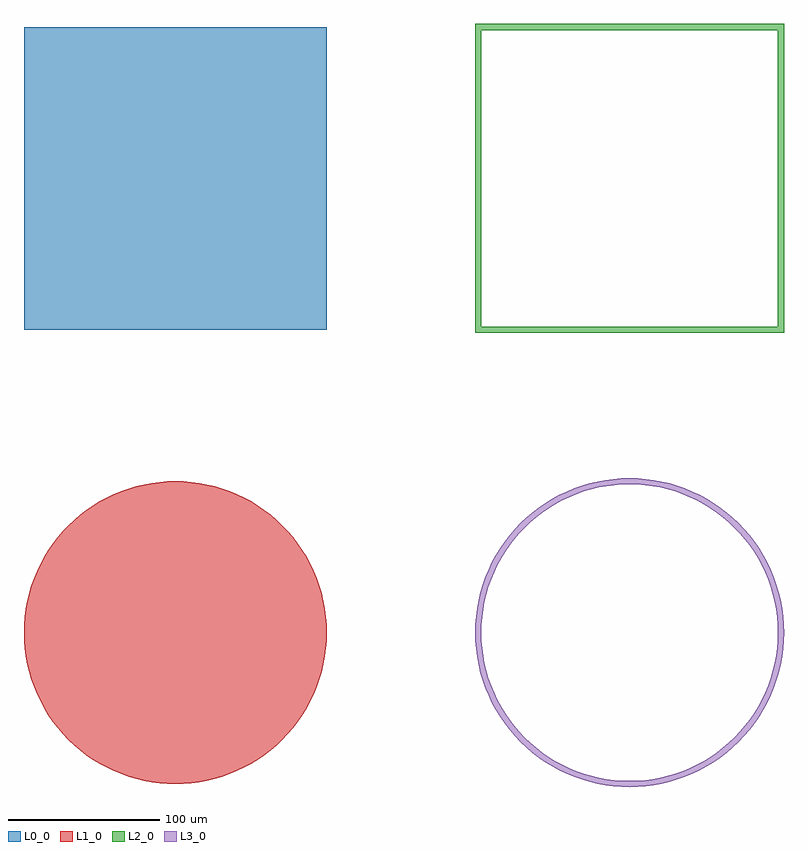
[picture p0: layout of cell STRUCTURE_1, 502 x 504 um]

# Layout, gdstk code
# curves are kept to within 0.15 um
import gdstk
lib = gdstk.Library(unit=1e-6, precision=5e-09)
def R(c, l, rs):  # rectangles x0, y0, x1, y1
    for r in rs: c.add(gdstk.rectangle(r[:2], r[2:], *l))
def P(c, l, *ps):  # polygons
    for p in ps: c.add(gdstk.Polygon(p, *l))
L0_0 = (0, 0)
L1_0 = (1, 0)
L2_0 = (2, 0)
L3_0 = (3, 0)

boundaries = lib.new_cell('boundaries')
R(boundaries, L0_0, [(-100,50,100,250)])
P(boundaries, L1_0, [(100,-150),(99.865,-144.765),(98.77,-134.355),(96.595,-124.12),(93.36,-114.165),(89.1,-104.6),(83.865,-95.535),(77.715,-87.07),(70.71,-79.29),(62.93,-72.285),(54.465,-66.135),(45.4,-60.9),(35.835,-56.64),(25.88,-53.405),(15.645,-51.23),(5.235,-50.135),(0,-50),(-5.235,-50.135),(-15.645,-51.23),(-25.88,-53.405),(-35.835,-56.64),(-45.4,-60.9),(-54.465,-66.135),(-62.93,-72.285),(-70.71,-79.29),(-77.715,-87.07),(-83.865,-95.535),(-89.1,-104.6),(-93.36,-114.165),(-96.595,-124.12),(-98.77,-134.355),(-99.865,-144.765),(-100,-150),(-99.865,-155.235),(-98.77,-165.645),(-96.595,-175.88),(-93.36,-185.835),(-89.1,-195.4),(-83.865,-204.465),(-77.715,-212.93),(-70.71,-220.71),(-62.93,-227.715),(-54.465,-233.865),(-45.4,-239.1),(-35.835,-243.36),(-25.88,-246.595),(-15.645,-248.77),(-5.235,-249.865),(0,-250),(5.235,-249.865),(15.645,-248.77),(25.88,-246.595),(35.835,-243.36),(45.4,-239.1),(54.465,-233.865),(62.93,-227.715),(70.71,-220.71),(77.715,-212.93),(83.865,-204.465),(89.1,-195.4),(93.36,-185.835),(96.595,-175.88),(98.77,-165.645),(99.865,-155.235)])

paths = lib.new_cell('paths')
P(paths, L2_0, [(98,248),(-98,248),(-98,52),(98,52),(102,48),(-102,48),(-102,252),(102,252)],
  [(-98,52),(98,52),(98,248),(-98,248),(-102,252),(102,252),(102,48),(-102,48)])
P(paths, L3_0, [(98,-150),(97.46,-139.755),(95.86,-129.625),(94.665,-124.64),(91.49,-114.88),(87.315,-105.51),(82.185,-96.625),(76.16,-88.33),(69.295,-80.705),(61.67,-73.84),(53.375,-67.815),(44.49,-62.685),(35.12,-58.51),(25.36,-55.335),(20.375,-54.14),(10.245,-52.54),(0,-52),(-10.245,-52.54),(-20.375,-54.14),(-25.36,-55.335),(-35.12,-58.51),(-44.49,-62.685),(-53.375,-67.815),(-61.67,-73.84),(-69.295,-80.705),(-76.16,-88.33),(-82.185,-96.625),(-87.315,-105.51),(-91.49,-114.88),(-94.665,-124.64),(-96.795,-134.67),(-97.865,-144.87),(-97.865,-155.13),(-101.865,-155.34),(-102,-150),(-101.44,-139.335),(-99.77,-128.795),(-97.01,-118.48),(-93.185,-108.51),(-88.34,-99),(-85.545,-94.445),(-79.27,-85.81),(-72.125,-77.875),(-64.19,-70.73),(-55.555,-64.455),(-51,-61.66),(-41.49,-56.815),(-31.52,-52.99),(-21.205,-50.23),(-10.665,-48.56),(0,-48),(10.665,-48.56),(21.205,-50.23),(31.52,-52.99),(41.49,-56.815),(51,-61.66),(55.555,-64.455),(64.19,-70.73),(72.125,-77.875),(79.27,-85.81),(85.545,-94.445),(90.885,-103.69),(95.23,-113.45),(98.525,-123.6),(99.77,-128.795),(100.745,-134.04),(101.865,-144.66),(102,-150)],
  [(-98,-150),(-97.46,-160.245),(-95.86,-170.375),(-94.665,-175.36),(-91.49,-185.12),(-87.315,-194.49),(-82.185,-203.375),(-76.16,-211.67),(-69.295,-219.295),(-61.67,-226.16),(-53.375,-232.185),(-44.49,-237.315),(-35.12,-241.49),(-25.36,-244.665),(-20.375,-245.86),(-10.245,-247.46),(0,-248),(10.245,-247.46),(20.375,-245.86),(25.36,-244.665),(35.12,-241.49),(44.49,-237.315),(53.375,-232.185),(61.67,-226.16),(69.295,-219.295),(76.16,-211.67),(82.185,-203.375),(87.315,-194.49),(91.49,-185.12),(94.665,-175.36),(96.795,-165.33),(97.865,-155.13),(97.865,-144.87),(101.865,-144.66),(102,-150),(101.44,-160.665),(99.77,-171.205),(97.01,-181.52),(93.185,-191.49),(88.34,-201),(85.545,-205.555),(79.27,-214.19),(72.125,-222.125),(64.19,-229.27),(55.555,-235.545),(51,-238.34),(41.49,-243.185),(31.52,-247.01),(21.205,-249.77),(10.665,-251.44),(0,-252),(-10.665,-251.44),(-21.205,-249.77),(-31.52,-247.01),(-41.49,-243.185),(-51,-238.34),(-55.555,-235.545),(-64.19,-229.27),(-72.125,-222.125),(-79.27,-214.19),(-85.545,-205.555),(-90.885,-196.31),(-95.23,-186.55),(-98.525,-176.4),(-99.77,-171.205),(-100.745,-165.96),(-101.865,-155.34),(-102,-150)])

structure_1 = lib.new_cell('STRUCTURE_1')
structure_1.add(gdstk.Reference(boundaries, (0,0)))
structure_1.add(gdstk.Reference(paths, (300,0)))

lib.write_gds('STRUCTURE_1.gds')
